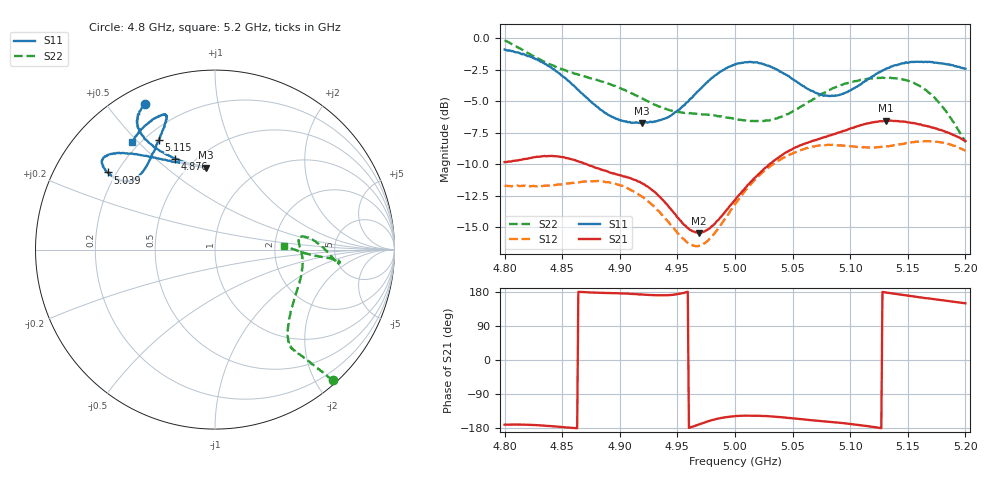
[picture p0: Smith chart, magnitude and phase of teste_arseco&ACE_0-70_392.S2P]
! Network Analyzer HP8722D
! Hewlett-Packard
! Data name: Linha & Wilkinson
! Saver's name: Rodrigo Anjos
! Comments: Teste da utilização de aquisição
! continua pelo VNA HP8722D
! Time and date: 8/5/2025 16:01
!  Frequency  S11  S21  S12  S22
# HZ  S  MA R 50
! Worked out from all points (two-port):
!   401 points, 4.8 GHz to 5.2 GHz, reference 50 ohm
!   highest |S21| = -6.54 dB at 5.131 GHz (marker M1); lowest = -15.5 dB at 4.969 GHz (marker M2)
!   |S21| within 3 dB of the highest: 4.821 GHz to 4.855 GHz (34.21 MHz wide, 0.707 % of centre); 5.037 GHz to end of sweep
!   lowest |S11| = -6.8 dB at 4.919 GHz (marker M3), VSWR 2.70, Z = 30.1 + j34.8 ohm
!   |S11| at or under -10 dB: nowhere
!   |S22| runs from -8.3 to -0.2 dB; largest |S21 - S12| = 0.83
!   S11 on the Smith chart (normalised r, x): 4.8 GHz: 0.07, +0.63; 4.876 GHz: 0.40, +0.58; 5.039 GHz: 0.17, +0.31; 5.115 GHz: 0.25, +0.58; 5.2 GHz: 0.17, +0.48
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4.8e9  0.9019 115.7  0.322 -170.7  0.259 -86.3  0.98 -48.0
4.832e9  0.8064 122.1  0.3395 -172.7  0.2589 -77.8  0.8178 -49.9
4.847e9  0.7272 122.4  0.3389 -176.1  0.2626 -73.0  0.7625 -50.9
4.867e9  0.6038 117.6  0.3211 179.3  0.269 -67.9  0.7109 -51.9
4.876e9  0.5528 113.8  0.31 178.0  0.27 -66.9  0.6913 -52.2
4.899e9  0.4745 101.3  0.2861 175.8  0.2618 -67.4  0.6371 -50.4
4.919e9  0.4594 96.3  0.2659 173.0  0.2349 -69.5  0.5779 -44.8
4.934e9  0.4718 100.0  0.2356 170.6  0.2054 -69.9  0.5351 -37.0
4.957e9  0.5486 116.3  0.1799 178.4  0.1566 -59.7  0.5063 -21.8
4.969e9  0.6227 124.3  0.1684 -169.7  0.1499 -46.5  0.4994 -14.7
4.98e9  0.695 130.2  0.1792 -158.5  0.163 -34.1  0.4951 -9.1
5e9  0.7879 137.4  0.2274 -148.4  0.2191 -21.5  0.4782 -0.3
5.019e9  0.8018 141.8  0.2839 -147.1  0.2785 -19.0  0.4684 5.8
5.039e9  0.737 144.3  0.3389 -150.7  0.3286 -19.2  0.4859 8.6
5.067e9  0.6174 142.0  0.3909 -158.9  0.3708 -21.5  0.5688 3.8
5.088e9  0.5912 132.9  0.4191 -164.8  0.3761 -24.6  0.6404 -2.7
5.115e9  0.6855 117.2  0.4586 -174.5  0.3681 -27.5  0.6905 -6.3
5.131e9  0.7559 111.5  0.4708 178.1  0.3718 -29.2  0.6954 -5.9
5.134e9  0.7632 110.9  0.4698 176.8  0.3722 -29.7  0.6955 -5.6
5.15e9  0.7982 110.2  0.4629 169.5  0.3833 -32.9  0.6778 -4.7
5.164e9  0.8049 113.2  0.45 164.0  0.3899 -37.1  0.6313 -4.2
5.2e9  0.7559 127.8  0.3903 149.7  0.3578 -47.5  0.3864 3.3
